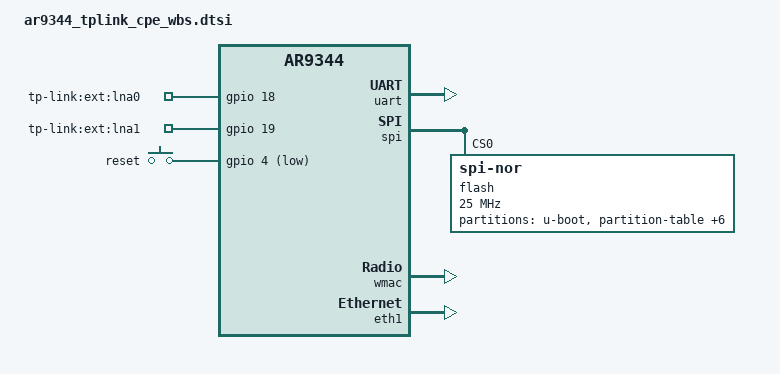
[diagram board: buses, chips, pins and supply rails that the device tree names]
// SPDX-License-Identifier: GPL-2.0-or-later OR MIT

#include <dt-bindings/gpio/gpio.h>
#include <dt-bindings/input/input.h>

#include "ar9344.dtsi"

/ {
	compatible = "tplink,cpe-wbs-v1", "qca,ar9344";

	gpio-export {
		compatible = "gpio-export";

		gpio_ext_lna0 {
			gpio-export,name = "tp-link:ext:lna0";
			gpio-export,output = <1>;
			gpios = <&gpio 18 GPIO_ACTIVE_HIGH>;
		};

		gpio_ext_lna1 {
			gpio-export,name = "tp-link:ext:lna1";
			gpio-export,output = <1>;
			gpios = <&gpio 19 GPIO_ACTIVE_HIGH>;
		};
	};

    keys {
		compatible = "gpio-keys-polled";
		poll-interval = <20>;

		reset {
			linux,code = <KEY_RESTART>;
			gpios = <&gpio 4 GPIO_ACTIVE_LOW>;
			debounce-interval = <60>;
		};
	};
};

&ref {
	clock-frequency = <40000000>;
};

&uart {
	status = "okay";
};

&gpio {
	status = "okay";
};

&spi {
	num-cs = <1>;

	status = "okay";

	flash@0 {
		compatible = "jedec,spi-nor";
		reg = <0>;
		spi-max-frequency = <25000000>;

		partitions {
			compatible = "fixed-partitions";
			#address-cells = <1>;
			#size-cells = <1>;

			uboot: partition@0 {
				label = "u-boot";
				reg = <0x000000 0x020000>;
				read-only;
			};

			partition@20000 {
				label = "partition-table";
				reg = <0x020000 0x010000>;
				read-only;
			};

            mac: partition@30000 {
				label = "product-info";
				reg = <0x030000 0x010000>;
				read-only;
			};

			partition@40001 {
				label = "firmware";
				reg = <0x040000 0x780000>;
			};

            partition@40000 {
				label = "kernel";
				reg = <0x040000 0x1f0000>;
			};

            partition@200000 {
				label = "rootfs";
				reg = <0x200000 0x590000>;
			};

            partition@7c0000 {
				label = "config";
				reg = <0x7c0000 0x030000>;
                read-only;
			};

            art: partition@7f0000 {
				label = "art";
				reg = <0x7f0000 0x010000>;
                read-only;
			};
		};
	};
};

&wmac {
	status = "okay";

	mtd-cal-data = <&art 0x1000>;
	mtd-mac-address = <&mac 0x8>;
};

&eth1 {
	status = "okay";

	mtd-mac-address = <&mac 0x8>;
};
